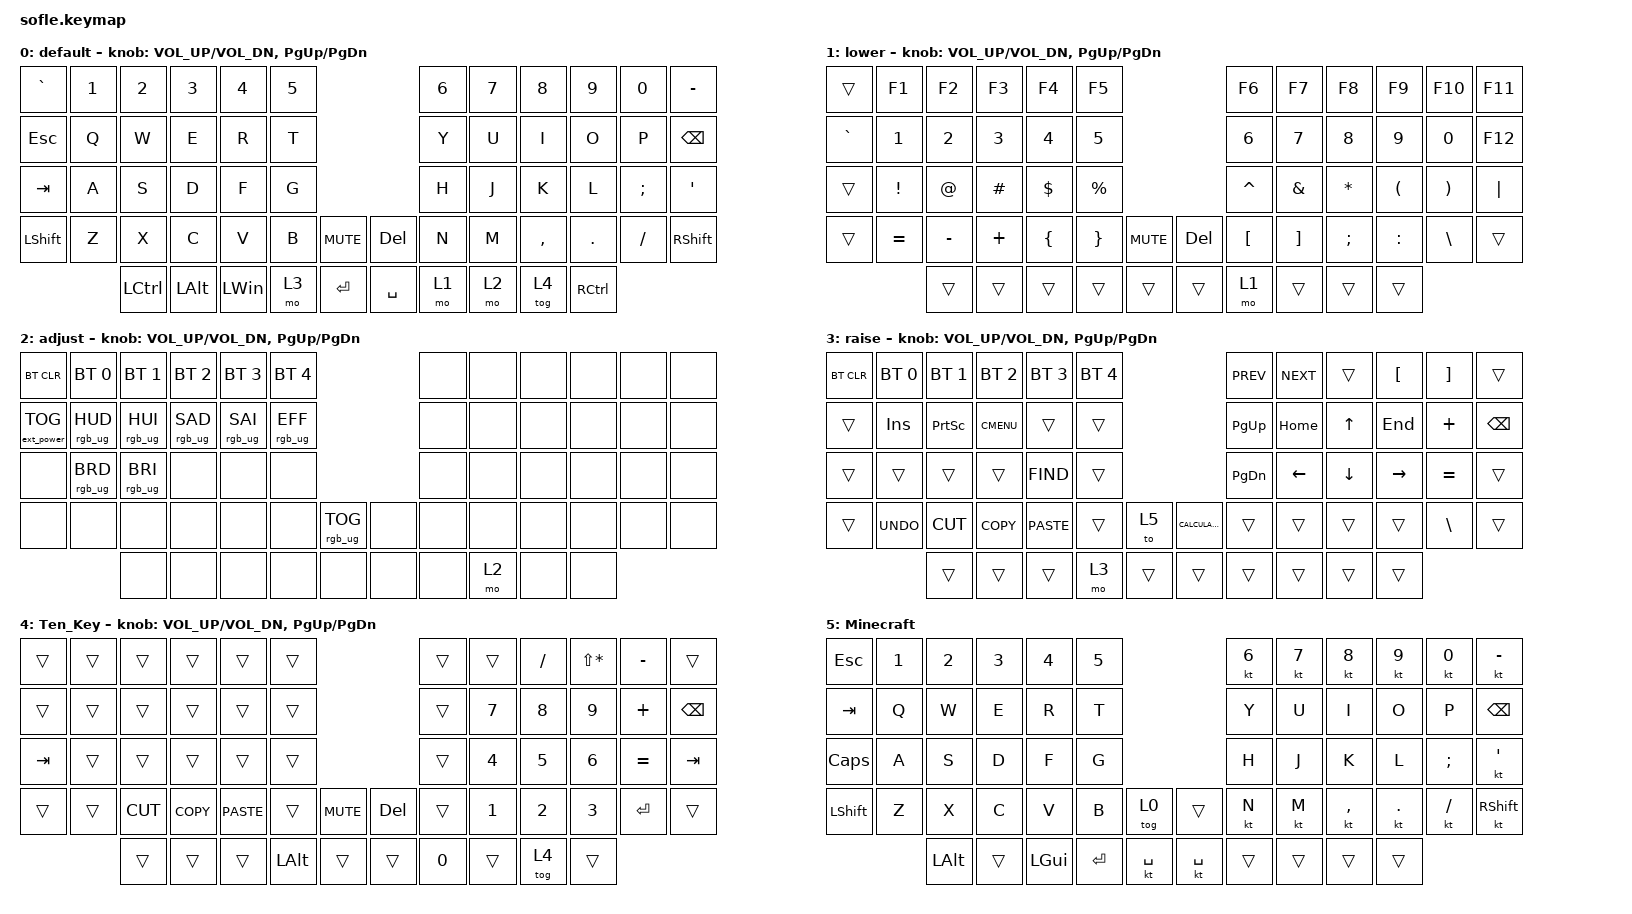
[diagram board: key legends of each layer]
/*
 * Copyright (c) 2020 The ZMK Contributors
 *
 * SPDX-License-Identifier: MIT
 */

#include <behaviors.dtsi>
#include <dt-bindings/zmk/bt.h>
#include <dt-bindings/zmk/ext_power.h>
#include <dt-bindings/zmk/keys.h>
#include <dt-bindings/zmk/rgb.h>

#define BASE 0
#define LOWER 1
#define RAISE 2
#define ADJUST 3

/ {
    // Activate ADJUST layer by pressing raise and lower

    conditional_layers {
        compatible = "zmk,conditional-layers";

        adjust_layer {
            if-layers = <1 3>;
            then-layer = <2>;
        };
    };

    keymap {
        compatible = "zmk,keymap";

        default_layer {
            display-name = "default";

            // ------------------------------------------------------------------------------------------------------------
            // |   `   |  1  |  2  |  3   |  4   |  5   |                   |  6   |  7    |  8    |  9   |   0   |       |
            // |  ESC  |  Q  |  W  |  E   |  R   |  T   |                   |  Y   |  U    |  I    |  O   |   P   | BKSPC |
            // |  TAB  |  A  |  S  |  D   |  F   |  G   |                   |  H   |  J    |  K    |  L   |   ;   |   '   |
            // | SHIFT |  Z  |  X  |  C   |  V   |  B   |  MUTE  |  |       |  N   |  M    |  ,    |  .   |   /   | SHIFT |
            //               | GUI | ALT  | CTRL | LOWER|  ENTER |  | SPACE | RAISE| CTRL  | ALT   | GUI  |

            bindings = <
&kp GRAVE  &kp N1  &kp N2     &kp N3    &kp N4        &kp N5                            &kp N6  &kp N7  &kp N8     &kp N9             &kp N0    &kp MINUS
&kp ESC    &kp Q   &kp W      &kp E     &kp R         &kp T                             &kp Y   &kp U   &kp I      &kp O              &kp P     &kp BSPC
&kp TAB    &kp A   &kp S      &kp D     &kp F         &kp G                             &kp H   &kp J   &kp K      &kp L              &kp SEMI  &kp SQT
&kp LSHFT  &kp Z   &kp X      &kp C     &kp V         &kp B   &kp C_MUTE    &kp DELETE  &kp N   &kp M   &kp COMMA  &kp DOT            &kp FSLH  &kp RSHFT
                   &kp LCTRL  &kp LALT  &kp LEFT_WIN  &mo 3   &kp RET       &kp SPACE   &mo 1   &mo 2   &tog 4     &kp RIGHT_CONTROL
            >;

            sensor-bindings = <&inc_dec_kp C_VOL_UP C_VOL_DN &inc_dec_kp PG_UP PG_DN>;
        };

        lower_layer {
            display-name = "lower";

            // TODO: Some binds are waiting for shifted keycode support.
            // ------------------------------------------------------------------------------------------------------------
            // |       |  F1 |  F2 |  F3  |  F4  |  F5  |                   |  F6  |  F7   |  F8   |  F9  |  F10  |  F11  |
            // |   `   |  1  |  2  |  3   |  4   |  5   |                   |  6   |  7    |  8    |  9   |   0   |  F12  |
            // |       |  !  |  @  |  #   |  $   |  %   |                   |  ^   |  &    |  *    |  (   |   )   |   |   |
            // |       |  =  |  -  |  +   |  {   |  }   |        |  |       |  [   |  ]    |  ;    |  :   |   \   |       |
            //               |     |      |      |      |        |  |       |      |       |       |      |

            bindings = <
&trans     &kp F1     &kp F2     &kp F3    &kp F4    &kp F5                               &kp F6     &kp F7    &kp F8     &kp F9     &kp F10   &kp F11
&kp GRAVE  &kp N1     &kp N2     &kp N3    &kp N4    &kp N5                               &kp N6     &kp N7    &kp N8     &kp N9     &kp N0    &kp F12
&trans     &kp EXCL   &kp AT     &kp HASH  &kp DLLR  &kp PRCNT                            &kp CARET  &kp AMPS  &kp ASTRK  &kp LPAR   &kp RPAR  &kp PIPE
&trans     &kp EQUAL  &kp MINUS  &kp PLUS  &kp LBRC  &kp RBRC   &kp K_MUTE    &kp DELETE  &kp LBKT   &kp RBKT  &kp SEMI   &kp COLON  &kp BSLH  &trans
                      &trans     &trans    &trans    &trans     &trans        &trans      &mo 1      &trans    &trans     &trans
            >;

            sensor-bindings = <&inc_dec_kp C_VOL_UP C_VOL_DN &inc_dec_kp PG_UP PG_DN>;
        };

        adjust_layer {
            // ----------------------------------------------------------------------------------------------------------------------------
            // | BTCLR  |  BT1    |  BT2    |   BT3   |   BT4   |   BT5   |                  |      |      |       |      |       |       |
            // | EXTPWR | RGB_HUD | RGB_HUI | RGB_SAD | RGB_SAI | RGB_EFF |                  |      |      |       |      |       |       |
            // |        | RGB_BRD | RGB_BRI |         |         |         |                  |      |      |       |      |       |       |
            // |        |         |         |         |         |         | RGB_TOG | |      |      |      |       |      |       |       |
            //                    |         |         |         |         |         | |      |      |      |       |      |

            display-name = "adjust";
            bindings = <
&bt BT_CLR         &bt BT_SEL 0     &bt BT_SEL 1     &bt BT_SEL 2     &bt BT_SEL 3     &bt BT_SEL 4                               &none  &none  &none  &none  &none  &none
&ext_power EP_TOG  &rgb_ug RGB_HUD  &rgb_ug RGB_HUI  &rgb_ug RGB_SAD  &rgb_ug RGB_SAI  &rgb_ug RGB_EFF                            &none  &none  &none  &none  &none  &none
&none              &rgb_ug RGB_BRD  &rgb_ug RGB_BRI  &none            &none            &none                                      &none  &none  &none  &none  &none  &none
&none              &none            &none            &none            &none            &none            &rgb_ug RGB_TOG    &none  &none  &none  &none  &none  &none  &none
                                    &none            &none            &none            &none            &none              &none  &none  &mo 2  &none  &none
            >;

            sensor-bindings =
                <&inc_dec_kp C_VOLUME_UP C_VOL_DN>,
                <&inc_dec_kp PAGE_UP PAGE_DOWN>;
        };

        raise_layer {
            display-name = "raise";

            // ------------------------------------------------------------------------------------------------------------
            // | BTCLR | BT1  | BT2  |  BT3  |  BT4  |  BT5 |                |      |      |       |      |       |       |
            // |       | INS  | PSCR | GUI   |       |      |                | PGUP |      |   ^   |      |       |       |
            // |       | ALT  | CTRL | SHIFT |       | CAPS |                | PGDN |   <- |   v   |  ->  |  DEL  | BKSPC |
            // |       | UNDO | CUT  | COPY  | PASTE |      |      |  |      |      |      |       |      |       |       |
            //                |      |       |       |      |      |  |      |      |      |       |      |

            bindings = <
&bt BT_CLR  &bt BT_SEL 0  &bt BT_SEL 1  &bt BT_SEL 2  &bt BT_SEL 3  &bt BT_SEL 4                              &kp K_PREV  &kp K_NEXT  &trans    &kp LEFT_BRACKET  &kp RIGHT_BRACKET  &trans
&trans      &kp INS       &kp PSCRN     &kp K_CMENU   &trans        &trans                                    &kp PG_UP   &kp HOME    &kp UP    &kp END           &kp PLUS           &kp BACKSPACE
&trans      &trans        &trans        &trans        &kp K_FIND    &trans                                    &kp PG_DN   &kp LEFT    &kp DOWN  &kp RIGHT         &kp EQUAL          &trans
&trans      &kp K_UNDO    &kp K_CUT     &kp K_COPY    &kp K_PASTE   &trans        &to 5     &kp K_CALCULATOR  &trans      &trans      &trans    &trans            &kp BACKSLASH      &trans
                          &trans        &trans        &trans        &mo 3         &trans    &trans            &trans      &trans      &trans    &trans
            >;

            sensor-bindings = <&inc_dec_kp C_VOL_UP C_VOL_DN &inc_dec_kp PG_UP PG_DN>;
        };

        Ten_Key {
            bindings = <
&trans   &trans  &trans     &trans      &trans       &trans                           &trans  &trans  &kp FSLH  &kp LS(ASTRK)  &kp MINUS  &trans
&trans   &trans  &trans     &trans      &trans       &trans                           &trans  &kp N7  &kp N8    &kp N9         &kp PLUS   &kp BSPC
&kp TAB  &trans  &trans     &trans      &trans       &trans                           &trans  &kp N4  &kp N5    &kp N6         &kp EQUAL  &kp TAB
&trans   &trans  &kp K_CUT  &kp K_COPY  &kp K_PASTE  &trans    &kp K_MUTE    &kp DEL  &trans  &kp N1  &kp N2    &kp N3         &kp ENTER  &trans
                 &trans     &trans      &trans       &kp LALT  &trans        &trans   &kp N0  &trans  &tog 4    &trans
            >;

            sensor-bindings =
                <&inc_dec_kp C_VOLUME_UP C_VOL_DN>,
                <&inc_dec_kp PAGE_UP PAGE_DOWN>;
        };

        Minecraft {
            bindings = <
&kp ESC    &kp N1  &kp N2    &kp N3  &kp N4    &kp N5                             &kt N6  &kt N7  &kt N8     &kt N9   &kt N0    &kt MINUS
&kp TAB    &kp Q   &kp W     &kp E   &kp R     &kp T                              &kp Y   &kp U   &kp I      &kp O    &kp P     &kp BSPC
&kp CAPS   &kp A   &kp S     &kp D   &kp F     &kp G                              &kp H   &kp J   &kp K      &kp L    &kp SEMI  &kt SQT
&kp LSHFT  &kp Z   &kp X     &kp C   &kp V     &kp B      &tog 0       &trans     &kt N   &kt M   &kt COMMA  &kt DOT  &kt FSLH  &kt RSHFT
                   &kp LALT  &trans  &kp LGUI  &kp ENTER  &kt SPACE    &kt SPACE  &trans  &trans  &trans     &trans
            >;
        };
    };
};
